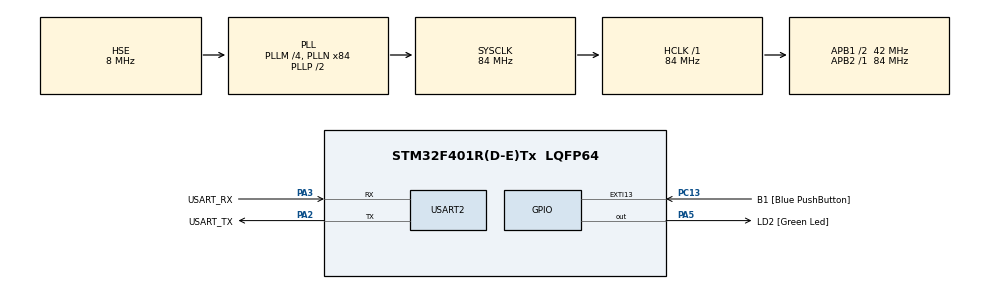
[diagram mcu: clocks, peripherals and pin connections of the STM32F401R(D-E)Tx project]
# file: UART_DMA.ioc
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Dma.Request0=USART2_RX
Dma.USART2_RX.0.Direction=DMA_PERIPH_TO_MEMORY
Dma.USART2_RX.0.FIFOMode=DMA_FIFOMODE_DISABLE
Dma.USART2_RX.0.Instance=DMA1_Stream5
Dma.USART2_RX.0.MemDataAlignment=DMA_MDATAALIGN_BYTE
Dma.USART2_RX.0.MemInc=DMA_MINC_ENABLE
Dma.USART2_RX.0.Mode=DMA_NORMAL
Dma.USART2_RX.0.PeriphDataAlignment=DMA_PDATAALIGN_BYTE
Dma.USART2_RX.0.PeriphInc=DMA_PINC_DISABLE
Dma.USART2_RX.0.Priority=DMA_PRIORITY_LOW
Mcu.Family=STM32F4
Mcu.Name=STM32F401R(D-E)Tx
Mcu.Package=LQFP64
NVIC.DMA1_Stream5_IRQn=true\:0\:0\:false\:false\:true\:false\:true\:true
NVIC.PriorityGroup=NVIC_PRIORITYGROUP_0
NVIC.USART2_IRQn=true\:0\:0\:false\:false\:true\:true\:true\:true
PA13.GPIO_Label=TMS
PA13.Mode=Serial_Wire
PA13.Signal=SYS_JTMS-SWDIO
PA14.GPIO_Label=TCK
PA14.Mode=Serial_Wire
PA14.Signal=SYS_JTCK-SWCLK
PA2.GPIO_Label=USART_TX
PA2.GPIO_Mode=GPIO_MODE_AF_PP
PA2.GPIO_PuPd=GPIO_NOPULL
PA2.GPIO_Speed=GPIO_SPEED_FREQ_LOW
PA2.Mode=Asynchronous
PA2.Signal=USART2_TX
PA3.GPIO_Label=USART_RX
PA3.GPIO_Mode=GPIO_MODE_AF_PP
PA3.GPIO_PuPd=GPIO_NOPULL
PA3.GPIO_Speed=GPIO_SPEED_FREQ_LOW
PA3.Mode=Asynchronous
PA3.Signal=USART2_RX
PA5.GPIO_Label=LD2 [Green Led]
PA5.GPIO_Mode=GPIO_MODE_OUTPUT_PP
PA5.GPIO_PuPd=GPIO_NOPULL
PA5.GPIO_Speed=GPIO_SPEED_FREQ_LOW
PA5.Signal=GPIO_Output
PB3.GPIO_Label=SWO
PB3.Signal=SYS_JTDO-SWO
PC13-ANTI_TAMP.GPIO_Label=B1 [Blue PushButton]
PC13-ANTI_TAMP.GPIO_ModeDefaultEXTI=GPIO_MODE_IT_FALLING
PC13-ANTI_TAMP.GPIO_PuPd=GPIO_NOPULL
PC13-ANTI_TAMP.Signal=GPXTI13
PC14-OSC32_IN.Mode=LSE-External-Oscillator
PC14-OSC32_IN.Signal=RCC_OSC32_IN
PC15-OSC32_OUT.Mode=LSE-External-Oscillator
PC15-OSC32_OUT.Signal=RCC_OSC32_OUT
PH0\ -\ OSC_IN.Mode=HSE-External-Oscillator
PH0\ -\ OSC_IN.Signal=RCC_OSC_IN
PH1\ -\ OSC_OUT.Mode=HSE-External-Oscillator
PH1\ -\ OSC_OUT.Signal=RCC_OSC_OUT
ProjectManager.HeapSize=0x200
ProjectManager.StackSize=0x400
ProjectManager.TargetToolchain=STM32CubeIDE
RCC.48MHZClocksFreq_Value=24000000
RCC.AHBFreq_Value=84000000
RCC.APB1CLKDivider=RCC_HCLK_DIV2
RCC.APB1Freq_Value=42000000
RCC.APB1TimFreq_Value=84000000
RCC.APB2Freq_Value=84000000
RCC.APB2TimFreq_Value=84000000
RCC.CortexFreq_Value=84000000
RCC.HCLKFreq_Value=84000000
RCC.HSE_VALUE=8000000
RCC.HSI_VALUE=16000000
RCC.PLLM=4
RCC.PLLN=84
RCC.PLLQ=7
RCC.PLLSourceVirtual=RCC_PLLSOURCE_HSE
RCC.SYSCLKFreq_VALUE=84000000
RCC.SYSCLKSource=RCC_SYSCLKSOURCE_PLLCLK
RCC.VCOOutputFreq_Value=168000000
USART2.VirtualMode=VM_ASYNC
board=NUCLEO-F401RE

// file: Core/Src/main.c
/* USER CODE BEGIN Header */
/**
  ******************************************************************************
  * @file           : main.c
  * @brief          : Main program body
  ******************************************************************************
  * @attention
  *
  * Copyright (c) 2024 STMicroelectronics.
  * All rights reserved.
  *
  * This software is licensed under terms that can be found in the LICENSE file
  * in the root directory of this software component.
  * If no LICENSE file comes with this software, it is provided AS-IS.
  *
  ******************************************************************************
  */
/* USER CODE END Header */
#include "main.h"

/* USER CODE BEGIN Includes */
#include <string.h>
/* USER CODE END Includes */

UART_HandleTypeDef huart2;
DMA_HandleTypeDef hdma_usart2_rx;

void SystemClock_Config(void);
static void MX_GPIO_Init(void);
static void MX_DMA_Init(void);
static void MX_USART2_UART_Init(void);

/* USER CODE BEGIN 0 */
# define RxBuf_SIZE 	512
# define MainBuf_SIZE 	2048

uint8_t RxBuf[RxBuf_SIZE];          //Where DMA copies the data
uint8_t MainBuf[MainBuf_SIZE];		//where DMA finally stores the data

uint16_t oldPos = 0, newPos = 0;

void HAL_UARTEx_RxEventCallback(UART_HandleTypeDef *huart, uint16_t Size)
{
	if(huart->Instance == USART2)
	{
		oldPos = newPos; //Updating last position before copying new data

		if(oldPos + Size > MainBuf_SIZE){		//if current position + new data is greater than the main buffer
			uint16_t datatocopy = MainBuf_SIZE - oldPos;
			memcpy ((uint8_t *)MainBuf+oldPos, RxBuf, datatocopy);

			oldPos = 0; //start of the buffer
			memcpy ((uint8_t *)MainBuf, (uint8_t *)RxBuf+datatocopy, (Size-datatocopy));	//Copying the remaining data
			newPos = (Size-datatocopy);

		}
		else{
			memcpy ((uint8_t *)MainBuf+oldPos, RxBuf, Size);
			newPos = (Size+oldPos);
		}

		HAL_UARTEx_ReceiveToIdle_DMA(&huart2, RxBuf, RxBuf_SIZE);

		__HAL_DMA_DISABLE_IT(&hdma_usart2_rx,DMA_IT_HT);
	}

}

/* USER CODE END 0 */

int main(void)
{

  /* MCU Configuration--------------------------------------------------------*/

  /* Reset of all peripherals, Initializes the Flash interface and the Systick. */
  HAL_Init();

  /* Configure the system clock */
  SystemClock_Config();

  /* Initialize all configured peripherals */
  MX_GPIO_Init();
  MX_DMA_Init();
  MX_USART2_UART_Init();
  /* USER CODE BEGIN 2 */

  HAL_UARTEx_ReceiveToIdle_DMA(&huart2, RxBuf, RxBuf_SIZE);

  __HAL_DMA_DISABLE_IT(&hdma_usart2_rx,DMA_IT_HT);

  /* USER CODE END 2 */

  /* Infinite loop */
  while (1)
  {

  }
}

void SystemClock_Config(void)
{
  RCC_OscInitTypeDef RCC_OscInitStruct = {0};
  RCC_ClkInitTypeDef RCC_ClkInitStruct = {0};

  /** Configure the main internal regulator output voltage
  */
  __HAL_RCC_PWR_CLK_ENABLE();
  __HAL_PWR_VOLTAGESCALING_CONFIG(PWR_REGULATOR_VOLTAGE_SCALE2);

  /** Initializes the RCC Oscillators according to the specified parameters
  * in the RCC_OscInitTypeDef structure.
  */
  RCC_OscInitStruct.OscillatorType = RCC_OSCILLATORTYPE_HSE;
  RCC_OscInitStruct.HSEState = RCC_HSE_ON;
  RCC_OscInitStruct.PLL.PLLState = RCC_PLL_ON;
  RCC_OscInitStruct.PLL.PLLSource = RCC_PLLSOURCE_HSE;
  RCC_OscInitStruct.PLL.PLLM = 4;
  RCC_OscInitStruct.PLL.PLLN = 84;
  RCC_OscInitStruct.PLL.PLLP = RCC_PLLP_DIV2;
  RCC_OscInitStruct.PLL.PLLQ = 7;
  if (HAL_RCC_OscConfig(&RCC_OscInitStruct) != HAL_OK)
  {
    Error_Handler();
  }

  /** Initializes the CPU, AHB and APB buses clocks
  */
  RCC_ClkInitStruct.ClockType = RCC_CLOCKTYPE_HCLK|RCC_CLOCKTYPE_SYSCLK
                              |RCC_CLOCKTYPE_PCLK1|RCC_CLOCKTYPE_PCLK2;
  RCC_ClkInitStruct.SYSCLKSource = RCC_SYSCLKSOURCE_PLLCLK;
  RCC_ClkInitStruct.AHBCLKDivider = RCC_SYSCLK_DIV1;
  RCC_ClkInitStruct.APB1CLKDivider = RCC_HCLK_DIV2;
  RCC_ClkInitStruct.APB2CLKDivider = RCC_HCLK_DIV1;

  if (HAL_RCC_ClockConfig(&RCC_ClkInitStruct, FLASH_LATENCY_2) != HAL_OK)
  {
    Error_Handler();
  }
}

static void MX_USART2_UART_Init(void)
{

  huart2.Instance = USART2;
  huart2.Init.BaudRate = 115200;
  huart2.Init.WordLength = UART_WORDLENGTH_8B;
  huart2.Init.StopBits = UART_STOPBITS_1;
  huart2.Init.Parity = UART_PARITY_NONE;
  huart2.Init.Mode = UART_MODE_TX_RX;
  huart2.Init.HwFlowCtl = UART_HWCONTROL_NONE;
  huart2.Init.OverSampling = UART_OVERSAMPLING_16;
  if (HAL_UART_Init(&huart2) != HAL_OK)
  {
    Error_Handler();
  }

}

static void MX_DMA_Init(void)
{

  /* DMA controller clock enable */
  __HAL_RCC_DMA1_CLK_ENABLE();

  /* DMA interrupt init */
  /* DMA1_Stream5_IRQn interrupt configuration */
  HAL_NVIC_SetPriority(DMA1_Stream5_IRQn, 0, 0);
  HAL_NVIC_EnableIRQ(DMA1_Stream5_IRQn);

}

static void MX_GPIO_Init(void)
{
  GPIO_InitTypeDef GPIO_InitStruct = {0};

  /* GPIO Ports Clock Enable */
  __HAL_RCC_GPIOC_CLK_ENABLE();
  __HAL_RCC_GPIOH_CLK_ENABLE();
  __HAL_RCC_GPIOA_CLK_ENABLE();
  __HAL_RCC_GPIOB_CLK_ENABLE();

  /*Configure GPIO pin Output Level */
  HAL_GPIO_WritePin(LD2_GPIO_Port, LD2_Pin, GPIO_PIN_RESET);

  /*Configure GPIO pin : B1_Pin */
  GPIO_InitStruct.Pin = B1_Pin;
  GPIO_InitStruct.Mode = GPIO_MODE_IT_FALLING;
  GPIO_InitStruct.Pull = GPIO_NOPULL;
  HAL_GPIO_Init(B1_GPIO_Port, &GPIO_InitStruct);

  /*Configure GPIO pin : LD2_Pin */
  GPIO_InitStruct.Pin = LD2_Pin;
  GPIO_InitStruct.Mode = GPIO_MODE_OUTPUT_PP;
  GPIO_InitStruct.Pull = GPIO_NOPULL;
  GPIO_InitStruct.Speed = GPIO_SPEED_FREQ_LOW;
  HAL_GPIO_Init(LD2_GPIO_Port, &GPIO_InitStruct);

}

void Error_Handler(void)
{
  __disable_irq();
  while (1)
  {
  }
}
